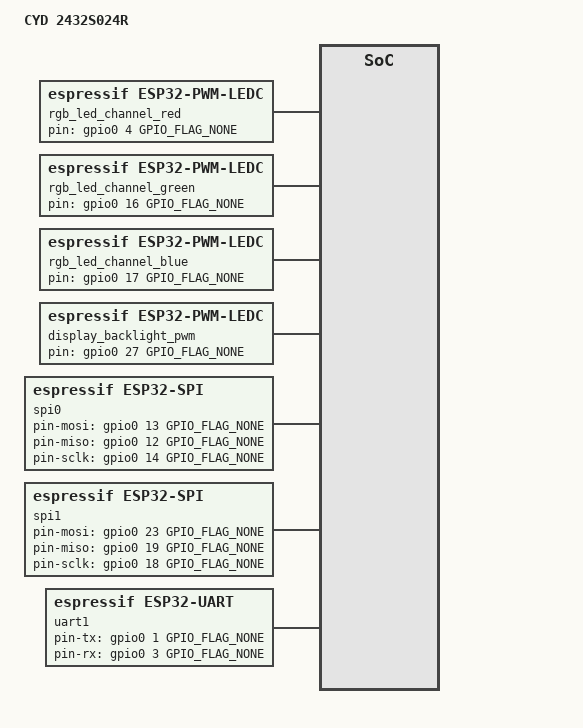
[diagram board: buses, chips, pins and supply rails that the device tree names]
/dts-v1/;

#include <tactility/bindings/root.h>
#include <tactility/bindings/esp32_wifi_pinned.h>
#include <tactility/bindings/esp32_gpio.h>
#include <tactility/bindings/esp32_spi.h>
#include <tactility/bindings/esp32_sdspi.h>
#include <tactility/bindings/esp32_uart.h>
#include <tactility/bindings/esp32_pwm_ledc.h>
#include <tactility/bindings/pwm_backlight.h>
#include <tactility/bindings/rgb_led_pwm.h>
#include <bindings/ili9341.h>
#include <bindings/xpt2046.h>

/ {
    compatible = "root";
	model = "CYD 2432S024R";

	wifi0 {
		compatible = "espressif,esp32-wifi-pinned";
		status = "disabled";
	};

    gpio0 {
        compatible = "espressif,esp32-gpio";
        gpio-count = <40>;
    };

	rgb_led_channel_red {
		compatible = "espressif,esp32-pwm-ledc";
		pin = <&gpio0 4 GPIO_FLAG_NONE>;
		period-ns = <500000>;
		ledc-timer = <0>;
		ledc-channel = <0>;
		inverted;
	};

	rgb_led_channel_green {
		compatible = "espressif,esp32-pwm-ledc";
		pin = <&gpio0 16 GPIO_FLAG_NONE>;
		period-ns = <500000>;
		ledc-timer = <0>;
		ledc-channel = <1>;
		inverted;
	};

	rgb_led_channel_blue {
		compatible = "espressif,esp32-pwm-ledc";
		pin = <&gpio0 17 GPIO_FLAG_NONE>;
		period-ns = <500000>;
		ledc-timer = <0>;
		ledc-channel = <2>;
		inverted;
	};

	rgb_led_pwm {
		compatible = "rgb-led-pwm";
		pwm-red = <&rgb_led_channel_red>;
		pwm-green = <&rgb_led_channel_green>;
		pwm-blue = <&rgb_led_channel_blue>;
		// Default is red, and we want to reset it to off by default
		default-color = <0 0 0>;
		enabled;
	};

	display_backlight_pwm {
		compatible = "espressif,esp32-pwm-ledc";
		pin = <&gpio0 27 GPIO_FLAG_NONE>;
		period-ns = <1953125>;
		ledc-timer = <1>;
		ledc-channel = <3>;
	};

	display_backlight {
		compatible = "pwm-backlight";
		// Off by default so display power-on won't show the screen from before the last power loss.
		// The display backlight is turned on during the boot process.
		status = "disabled";
		pwm = <&display_backlight_pwm>;
	};

    spi0 {
        compatible = "espressif,esp32-spi";
        host = <SPI2_HOST>;
        pin-mosi = <&gpio0 13 GPIO_FLAG_NONE>;
        pin-miso = <&gpio0 12 GPIO_FLAG_NONE>;
        pin-sclk = <&gpio0 14 GPIO_FLAG_NONE>;
        cs-gpios = <&gpio0 15 GPIO_FLAG_NONE>, // Display
                   <&gpio0 33 GPIO_FLAG_NONE>; // Touch

		display@0 {
			compatible = "ilitek,ili9341";
			horizontal-resolution = <240>;
			vertical-resolution = <320>;
			swap-xy;
			mirror-x;
			mirror-y;
			pixel-clock-hz = <40000000>;
			pin-dc = <&gpio0 2 GPIO_FLAG_NONE>;
			backlight = <&display_backlight>;
		};

		touch@1 {
			compatible = "xptek,xpt2046";
			x-max = <240>;
			y-max = <320>;
			swap-xy;
			mirror-y;
		};
    };

    spi1 {
        compatible = "espressif,esp32-spi";
        host = <SPI3_HOST>;
        pin-mosi = <&gpio0 23 GPIO_FLAG_NONE>;
        pin-miso = <&gpio0 19 GPIO_FLAG_NONE>;
        pin-sclk = <&gpio0 18 GPIO_FLAG_NONE>;
		cs-gpios = <&gpio0 5 GPIO_FLAG_NONE>;

		sdcard@0 {
			compatible = "espressif,esp32-sdspi";
			frequency-khz = <20000>;
		};
    };

    uart1 {
        compatible = "espressif,esp32-uart";
        port = <UART_NUM_1>;
        pin-tx = <&gpio0 1 GPIO_FLAG_NONE>;
        pin-rx = <&gpio0 3 GPIO_FLAG_NONE>;
    };
};
